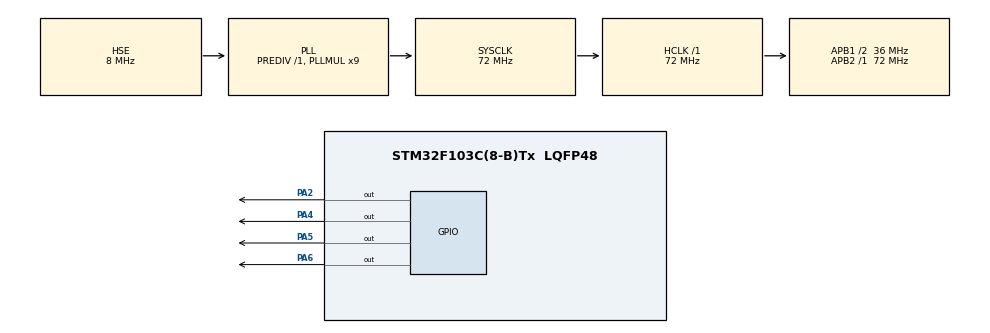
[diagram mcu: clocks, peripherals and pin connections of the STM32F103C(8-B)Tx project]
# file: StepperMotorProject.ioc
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Mcu.Family=STM32F1
Mcu.Name=STM32F103C(8-B)Tx
Mcu.Package=LQFP48
NVIC.PriorityGroup=NVIC_PRIORITYGROUP_4
NVIC.TIM2_IRQn=true\:0\:0\:false\:false\:true\:true\:true\:true
PA13.Mode=Serial_Wire
PA13.Signal=SYS_JTMS-SWDIO
PA14.Mode=Serial_Wire
PA14.Signal=SYS_JTCK-SWCLK
PA2.Signal=GPIO_Output
PA4.Signal=GPIO_Output
PA5.Signal=GPIO_Output
PA6.Signal=GPIO_Output
PD0-OSC_IN.Mode=HSE-External-Oscillator
PD0-OSC_IN.Signal=RCC_OSC_IN
PD1-OSC_OUT.Mode=HSE-External-Oscillator
PD1-OSC_OUT.Signal=RCC_OSC_OUT
ProjectManager.HeapSize=0x200
ProjectManager.StackSize=0x400
ProjectManager.TargetToolchain=MDK-ARM V5.32
RCC.AHBFreq_Value=72000000
RCC.APB1CLKDivider=RCC_HCLK_DIV2
RCC.APB1Freq_Value=36000000
RCC.APB1TimFreq_Value=72000000
RCC.APB2Freq_Value=72000000
RCC.APB2TimFreq_Value=72000000
RCC.HCLKFreq_Value=72000000
RCC.PLLMUL=RCC_PLL_MUL9
RCC.PLLSourceVirtual=RCC_PLLSOURCE_HSE
RCC.SYSCLKFreq_VALUE=72000000
RCC.SYSCLKSource=RCC_SYSCLKSOURCE_PLLCLK
RCC.USBFreq_Value=72000000
TIM2.Period=100
TIM2.Prescaler=72-1
VP_TIM2_VS_ClockSourceINT.Mode=Internal
board=custom

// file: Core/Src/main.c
/* USER CODE BEGIN Header */
/**
 ******************************************************************************
 * @file           : main.c
 * @brief          : Main program body
 ******************************************************************************
 * @attention
 *
 * Copyright (c) 2026 STMicroelectronics.
 * All rights reserved.
 *
 * This software is licensed under terms that can be found in the LICENSE file
 * in the root directory of this software component.
 * If no LICENSE file comes with this software, it is provided AS-IS.
 *
 ******************************************************************************
 */
/* USER CODE END Header */
#include "main.h"
#include "tim.h"
#include "gpio.h"

/* USER CODE BEGIN Includes */
#include "s_curve.h"       /* S曲线算法头文件 */
#include "stepper_motor.h" /* 步进电机驱动头文件 */

/* USER CODE END Includes */

void SystemClock_Config(void);

/* USER CODE BEGIN 0 */
SCurve_Handle_t motion;

/* GPIO引脚定义 - 步进电机控制 */
#define STEP_PIN    GPIO_PIN_5
#define DIR_PIN     GPIO_PIN_4
#define EN_PIN      GPIO_PIN_6
#define STEP_PORT   GPIOA
#define DIR_PORT    GPIOA
#define EN_PORT     GPIOA

/* GPIO操作函数实现 */
static void stepper_write_step(Stepper_PinState_t state) {
    HAL_GPIO_WritePin(STEP_PORT, STEP_PIN, state ? GPIO_PIN_SET : GPIO_PIN_RESET);
}

static void stepper_write_dir(Stepper_PinState_t state) {
    HAL_GPIO_WritePin(DIR_PORT, DIR_PIN, state ? GPIO_PIN_SET : GPIO_PIN_RESET);
}

static void stepper_write_en(Stepper_PinState_t state) {
    HAL_GPIO_WritePin(EN_PORT, EN_PIN, state ? GPIO_PIN_SET : GPIO_PIN_RESET);
}

static Stepper_PinState_t stepper_read_step(void) {
    return HAL_GPIO_ReadPin(STEP_PORT, STEP_PIN);
}

/* GPIO操作接口实例 */
const Stepper_GPIO_Interface_t stepper_gpio_if = {
    .write_step = stepper_write_step,
    .write_dir  = stepper_write_dir,
    .write_en   = stepper_write_en,
    .read_step  = stepper_read_step
};
/* USER CODE END 0 */

int main(void)
{

  /* MCU Configuration--------------------------------------------------------*/

  /* Reset of all peripherals, Initializes the Flash interface and the Systick. */
  HAL_Init();

  /* Configure the system clock */
  SystemClock_Config();

  /* Initialize all configured peripherals */
  MX_GPIO_Init();
  MX_TIM2_Init();
  /* USER CODE BEGIN 2 */

    SCurveConfig_t cfg = {
        .v_start  = 200.0f,   /**< 起始速度: 200 step/s (约12 RPM) */
        .v_target = 4000.0f,  /**< 目标速度: 4000 step/s */
        .v_end    = 0.0f,     /**< 结束速度: 0 (完全停止) */
        .v_max    = 4000.0f,  /**< 最大限制速度: 4000 step/s */
        .accl     = 1000.0f,  /**< 最大加速度: 1000 step/s^2 */
        .decel    = 1000.0f,  /**< 最大减速度: 1000 step/s^2 */
        .jerk     = 8000.0f   /**< 加加速度: 8000 step/s^3 */
    };

    /* 初始化S曲线控制器 */
    SCurve_Init(&motion, &cfg);

    /* 初始化步进电机驱动 */
    Stepper_Init(&motion, &stepper_gpio_if);

    HAL_TIM_Base_Start_IT(&htim2);
  /* USER CODE END 2 */

  /* Infinite loop */
    while (1)
    {

    /* USER CODE BEGIN 3 */

        Stepper_Move(6400, 1);
        while (motion.running);
        HAL_Delay(1000);

        Stepper_Move(6400, 0);
        while (motion.running);
        HAL_Delay(1000);
    }
  /* USER CODE END 3 */
}

void SystemClock_Config(void)
{
  RCC_OscInitTypeDef RCC_OscInitStruct = {0};
  RCC_ClkInitTypeDef RCC_ClkInitStruct = {0};

  /** Initializes the RCC Oscillators according to the specified parameters
  * in the RCC_OscInitTypeDef structure.
  */
  RCC_OscInitStruct.OscillatorType = RCC_OSCILLATORTYPE_HSE;
  RCC_OscInitStruct.HSEState = RCC_HSE_ON;
  RCC_OscInitStruct.HSEPredivValue = RCC_HSE_PREDIV_DIV1;
  RCC_OscInitStruct.HSIState = RCC_HSI_ON;
  RCC_OscInitStruct.PLL.PLLState = RCC_PLL_ON;
  RCC_OscInitStruct.PLL.PLLSource = RCC_PLLSOURCE_HSE;
  RCC_OscInitStruct.PLL.PLLMUL = RCC_PLL_MUL9;
  if (HAL_RCC_OscConfig(&RCC_OscInitStruct) != HAL_OK)
  {
    Error_Handler();
  }

  /** Initializes the CPU, AHB and APB buses clocks
  */
  RCC_ClkInitStruct.ClockType = RCC_CLOCKTYPE_HCLK|RCC_CLOCKTYPE_SYSCLK
                              |RCC_CLOCKTYPE_PCLK1|RCC_CLOCKTYPE_PCLK2;
  RCC_ClkInitStruct.SYSCLKSource = RCC_SYSCLKSOURCE_PLLCLK;
  RCC_ClkInitStruct.AHBCLKDivider = RCC_SYSCLK_DIV1;
  RCC_ClkInitStruct.APB1CLKDivider = RCC_HCLK_DIV2;
  RCC_ClkInitStruct.APB2CLKDivider = RCC_HCLK_DIV1;

  if (HAL_RCC_ClockConfig(&RCC_ClkInitStruct, FLASH_LATENCY_2) != HAL_OK)
  {
    Error_Handler();
  }
}

/* USER CODE BEGIN 4 */

/**
 * @brief  TIM周期中断回调函数
 * @param  htim: TIM句柄
 * @retval None
 */
void HAL_TIM_PeriodElapsedCallback(TIM_HandleTypeDef *htim)
{
    if (htim->Instance == TIM2)
    {
        Stepper_TIM_PeriodElapsed();
    }
}

/* USER CODE END 4 */

void Error_Handler(void)
{
    __disable_irq();
    while (1)
    {
    }
}

#ifdef  USE_FULL_ASSERT
/**
  * @brief  Reports the name of the source file and the source line number
  *         where the assert_param error has occurred.
  * @param  file: pointer to the source file name
  * @param  line: assert_param error line source number
  * @retval None
  */
void assert_failed(uint8_t *file, uint32_t line)
{
  /* USER CODE BEGIN 6 */
    /* User can add his own implementation to report the file name and line
       number, ex: printf("Wrong parameters value: file %s on line %d\r\n", file,
       line) */
  /* USER CODE END 6 */
}
#endif /* USE_FULL_ASSERT */
